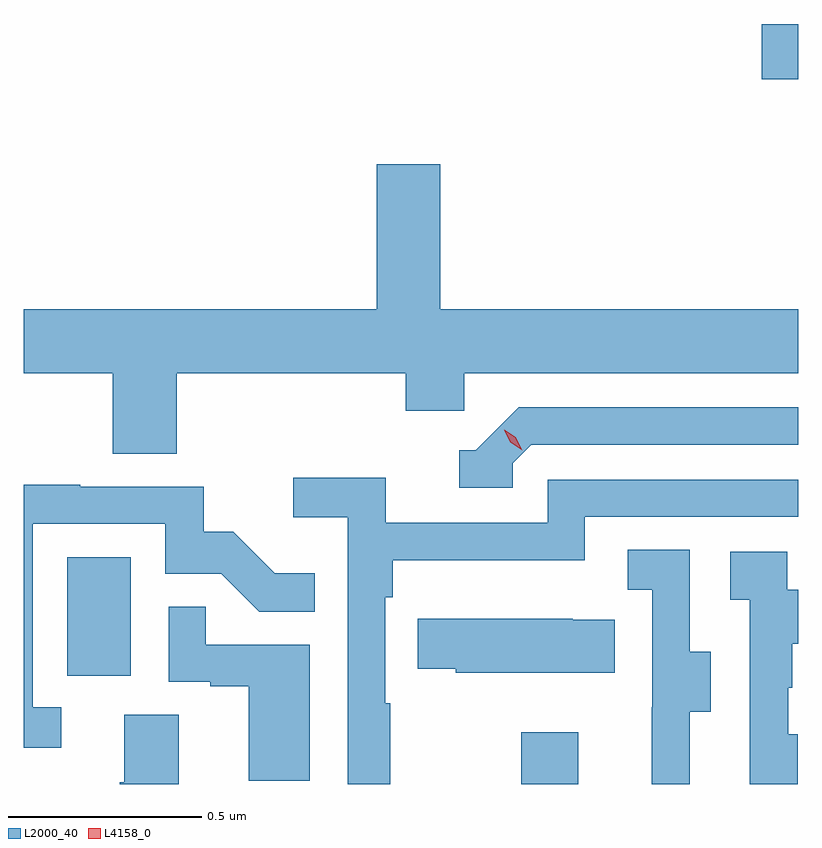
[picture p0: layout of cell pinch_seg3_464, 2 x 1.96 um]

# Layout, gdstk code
import gdstk
lib = gdstk.Library(unit=1e-6, precision=1e-09)
def R(c, l, rs):  # rectangles x0, y0, x1, y1
    for r in rs: c.add(gdstk.rectangle(r[:2], r[2:], *l))
def P(c, l, *ps):  # polygons
    for p in ps: c.add(gdstk.Polygon(p, *l))
L2000_40 = (2000, 40)
L4158_0 = (4158, 0)

pinch_seg3_464 = lib.new_cell('pinch_seg3_464')
R(pinch_seg3_464, L2000_40, [(908.638,673.215,908.785,673.348), (907.466,673.494,907.63,673.801), (909.258,675.035,909.353,675.177)])
P(pinch_seg3_464, L2000_40, [(908.339,674.178),(908.49,674.178),(908.49,674.276),(909.353,674.276),(909.353,674.44),(908.428,674.44),(908.428,674.815),(908.264,674.815),(908.264,674.44),(907.353,674.44),(907.353,674.276),(907.583,674.276),(907.583,674.068),(907.748,674.068),(907.748,674.276),(908.339,674.276)],
  [(908.616,674.043),(908.664,674.091),(909.353,674.091),(909.353,674.187),(908.631,674.187),(908.52,674.076),(908.477,674.076),(908.477,673.98),(908.616,673.98)],
  [(908.299,673.424),(908.286,673.424),(908.286,673.697),(908.306,673.697),(908.306,673.793),(908.802,673.793),(908.802,673.905),(909.353,673.905),(909.353,674.001),(908.706,674.001),(908.706,673.89),(908.288,673.89),(908.288,674.006),(908.049,674.006),(908.049,673.904),(908.19,673.904),(908.19,673.215),(908.299,673.215)],
  [(907.45,673.413),(907.377,673.413),(907.377,673.887),(907.719,673.887),(907.719,673.758),(907.863,673.758),(907.961,673.66),(908.105,673.66),(908.105,673.759),(908.001,673.759),(907.894,673.866),(907.818,673.866),(907.818,673.983),(907.499,673.983),(907.499,673.988),(907.353,673.988),(907.353,673.308),(907.45,673.308)],
  [(909.073,673.402),(909.127,673.402),(909.127,673.557),(909.072,673.557),(909.072,673.82),(908.913,673.82),(908.913,673.717),(908.976,673.717),(908.976,673.413),(908.975,673.413),(908.975,673.215),(909.073,673.215)],
  [(909.352,673.344),(909.327,673.344),(909.327,673.463),(909.337,673.463),(909.337,673.577),(909.353,673.577),(909.353,673.717),(909.324,673.717),(909.324,673.815),(909.177,673.815),(909.177,673.691),(909.228,673.691),(909.228,673.215),(909.352,673.215)],
  [(908.092,673.575),(907.823,673.575),(907.823,673.673),(907.728,673.673),(907.728,673.479),(907.835,673.479),(907.835,673.467),(907.934,673.467),(907.934,673.224),(908.092,673.224)],
  [(908.879,673.639),(908.771,673.639),(908.771,673.642),(908.371,673.642),(908.371,673.513),(908.469,673.513),(908.469,673.502),(908.879,673.502)],
  [(907.753,673.394),(907.613,673.394),(907.613,673.22),(907.601,673.22),(907.601,673.215),(907.753,673.215)])
P(pinch_seg3_464, L4158_0, [(908.64,674.077),(908.609,674.097),(908.594,674.13),(908.594,674.13),(908.594,674.13),(908.624,674.11),(908.64,674.077),(908.64,674.077)])

lib.write_gds('pinch_seg3_464.gds')
